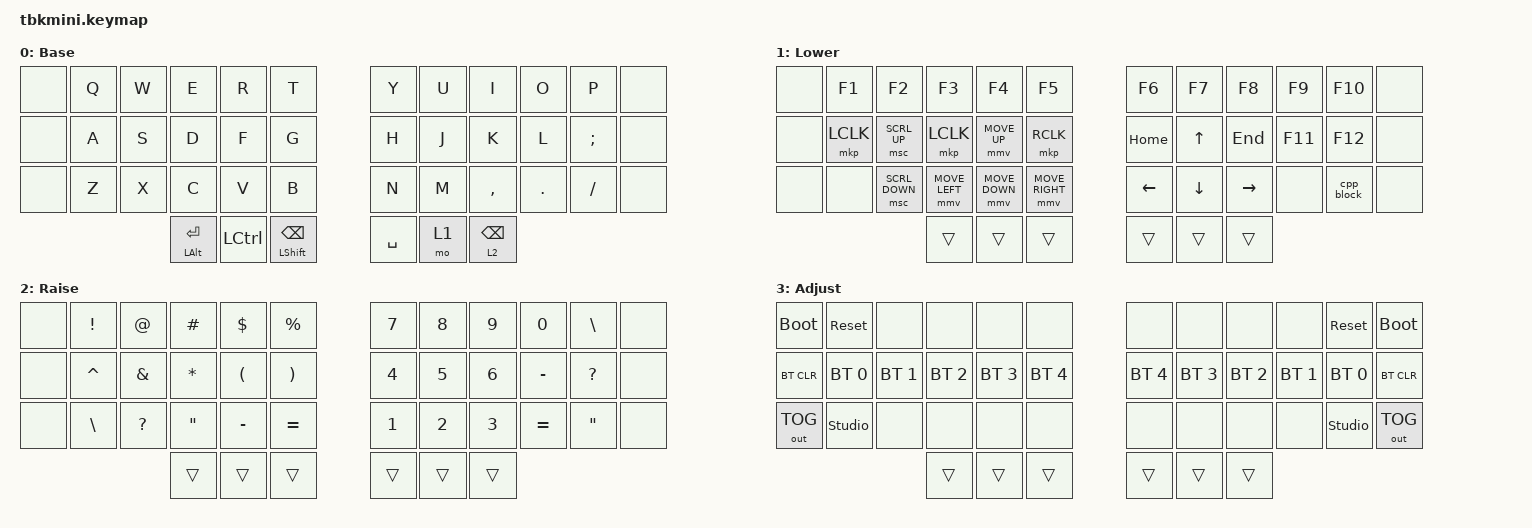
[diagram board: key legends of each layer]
/*
 * Copyright (c) 2020 The ZMK Contributors
 *
 * SPDX-License-Identifier: MIT
 */

// Основная раскладка: этот файл идёт в сборку и открывается в keymap-editor (копия в boards/shields/tbkmini не используется)
// Визуальный редактор: https://nickcoutsos.github.io/keymap-editor/ (GitHub -> Shade30/tbkmini-zmk-config -> ветка), затем Commit
// Раскладка перенесена из Vial (corne.json); RGB-клавиши слоя 3 заменены на Bluetooth, т.к. подсветки на TBK Mini нет

// Скорость курсора и прокрутки для мышиных клавиш (по умолчанию 600 и 10)
#define ZMK_POINTING_DEFAULT_MOVE_VAL 1500
#define ZMK_POINTING_DEFAULT_SCRL_VAL 20

#include <behaviors.dtsi>
#include <dt-bindings/zmk/bt.h>
#include <dt-bindings/zmk/keys.h>
#include <dt-bindings/zmk/outputs.h>
#include <dt-bindings/zmk/pointing.h>

// Список кодов клавиш: https://zmk.dev/docs/keymaps/list-of-keycodes
// Номера слоёв для &mo / &lt: 0 = Base, 1 = Lower, 2 = Raise, 3 = Adjust (порядок слоёв ниже)

// Тайминги hold-tap: tapping-term-ms — сколько держать для удержания, quick-tap-ms — окно повтора нажатия (как в Vial: 200 мс)
&lt {
    tapping-term-ms = <200>;
    quick-tap-ms = <200>;
    flavor = "balanced";
};

&mt {
    tapping-term-ms = <200>;
    quick-tap-ms = <200>;
    flavor = "balanced";
};

// Разгон курсора и прокрутки до максимальной скорости, мс
&mmv {
    time-to-max-speed-ms = <1000>;
};

&msc {
    time-to-max-speed-ms = <600>;
};

/ {
    // Слой 3 (Adjust) включается, когда одновременно активны слои 1 и 2
    conditional_layers {
        compatible = "zmk,conditional-layers";

        adjust {
            if-layers = <1 2>;
            then-layer = <3>;
        };
    };

    // Комбо: одновременное нажатие двух клавиш; key-positions — номера клавиш 0..41 слева направо, сверху вниз; работают только на слое 0
    combos {
        compatible = "zmk,combos";

        combo_esc {
            timeout-ms = <30>;
            key-positions = <1 2>;
            bindings = <&gresc>;
            layers = <0>;
        };

        combo_del {
            timeout-ms = <30>;
            key-positions = <3 4>;
            bindings = <&kp DEL>;
            layers = <0>;
        };

        combo_tab {
            timeout-ms = <30>;
            key-positions = <13 14>;
            bindings = <&kp TAB>;
            layers = <0>;
        };

        combo_bspc {
            timeout-ms = <30>;
            key-positions = <15 16>;
            bindings = <&kp BSPC>;
            layers = <0>;
        };

        combo_gui {
            timeout-ms = <30>;
            key-positions = <25 26>;
            bindings = <&kp LGUI>;
            layers = <0>;
        };

        combo_ret {
            timeout-ms = <30>;
            key-positions = <19 20>;
            bindings = <&kp RET>;
            layers = <0>;
        };

        combo_lbkt {
            timeout-ms = <30>;
            key-positions = <9 10>;
            bindings = <&kp LBKT>;
            layers = <0>;
        };

        combo_sqt {
            timeout-ms = <30>;
            key-positions = <21 22>;
            bindings = <&kp SQT>;
            layers = <0>;
        };

        combo_rbkt {
            timeout-ms = <30>;
            key-positions = <33 34>;
            bindings = <&kp RBKT>;
            layers = <0>;
        };

        // Shift+Alt — переключение языка
        combo_lang {
            timeout-ms = <30>;
            key-positions = <31 32>;
            bindings = <&kp LS(LALT)>;
            layers = <0>;
        };

        // P + S на разных половинах: таймаут больше из-за задержки Bluetooth между половинами
        combo_pscrn {
            timeout-ms = <50>;
            key-positions = <10 14>;
            bindings = <&kp PSCRN>;
            layers = <0>;
        };
    };

    macros {
        // Вырезает выделенное и вставляет его обратно внутри блока ``` C++ ... ``` (макрос M0 из Vial)
        cpp_block: cpp_block {
            compatible = "zmk,behavior-macro";
            #binding-cells = <0>;
            bindings
                = <&kp LC(X)>
                , <&kp GRAVE &kp GRAVE &kp GRAVE &kp SPACE &kp LS(C) &kp PLUS &kp PLUS &kp SPACE>
                , <&kp RET &kp LSHFT &kp LC(V) &kp RET &kp LSHFT>
                , <&kp GRAVE &kp GRAVE &kp GRAVE>
                ;
        };
    };

    keymap {
        compatible = "zmk,keymap";

        // Слой 0: буквы; в каждом слое 42 клавиши = 3 ряда по 12 + 6 под большие пальцы
        default_layer {
            display-name = "Base";
            bindings = <
&none  &kp Q  &kp W  &kp E  &kp R  &kp T            &kp Y      &kp U  &kp I      &kp O    &kp P     &none
&none  &kp A  &kp S  &kp D  &kp F  &kp G            &kp H      &kp J  &kp K      &kp L    &kp SEMI  &none
&none  &kp Z  &kp X  &kp C  &kp V  &kp B            &kp N      &kp M  &kp COMMA  &kp DOT  &kp FSLH  &none
                     &mt LALT RET  &kp LCTRL  &mt LSHFT BSPC  &kp SPACE  &mo 1  &lt 2 BSPC
            >;
        };

        // Слой 1: F-клавиши, мышь, стрелки (удерживать среднюю правую клавишу под большой палец)
        lower_layer {
            display-name = "Lower";
            bindings = <
&none  &kp F1     &kp F2         &kp F3          &kp F4          &kp F5           &kp F6    &kp F7    &kp F8     &kp F9   &kp F10     &none
&none  &mkp LCLK  &msc SCRL_UP   &mkp LCLK       &mmv MOVE_UP    &mkp RCLK        &kp HOME  &kp UP    &kp END    &kp F11  &kp F12     &none
&none  &none      &msc SCRL_DOWN &mmv MOVE_LEFT  &mmv MOVE_DOWN  &mmv MOVE_RIGHT  &kp LEFT  &kp DOWN  &kp RIGHT  &none    &cpp_block  &none
                                 &trans          &trans          &trans           &trans    &trans    &trans
            >;
        };

        // Слой 2: символы и цифры (удерживать крайнюю правую клавишу под большой палец, нажатие — Backspace)
        raise_layer {
            display-name = "Raise";
            bindings = <
&none  &kp EXCL   &kp AT     &kp HASH  &kp DLLR   &kp PRCNT    &kp N7  &kp N8  &kp N9  &kp N0     &kp BSLH   &none
&none  &kp CARET  &kp AMPS   &kp STAR  &kp LPAR   &kp RPAR     &kp N4  &kp N5  &kp N6  &kp MINUS  &kp QMARK  &none
&none  &kp BSLH   &kp QMARK  &kp DQT   &kp MINUS  &kp EQUAL    &kp N1  &kp N2  &kp N3  &kp EQUAL  &kp DQT    &none
                             &trans    &trans     &trans       &trans  &trans  &trans
            >;
        };

        // Слой 3: профили Bluetooth, переключение USB/BLE, сброс/загрузчик (Lower + Raise); &bootloader не убирать — нужен для прошивки, на каждой половине свой
        adjust_layer {
            display-name = "Adjust";
            bindings = <
&bootloader   &sys_reset      &none         &none         &none         &none         &none         &none         &none         &none         &sys_reset      &bootloader
&bt BT_CLR    &bt BT_SEL 0    &bt BT_SEL 1  &bt BT_SEL 2  &bt BT_SEL 3  &bt BT_SEL 4  &bt BT_SEL 4  &bt BT_SEL 3  &bt BT_SEL 2  &bt BT_SEL 1  &bt BT_SEL 0    &bt BT_CLR
&out OUT_TOG  &studio_unlock  &none         &none         &none         &none         &none         &none         &none         &none         &studio_unlock  &out OUT_TOG
                                            &trans        &trans        &trans        &trans        &trans        &trans
            >;
        };
    };
};
